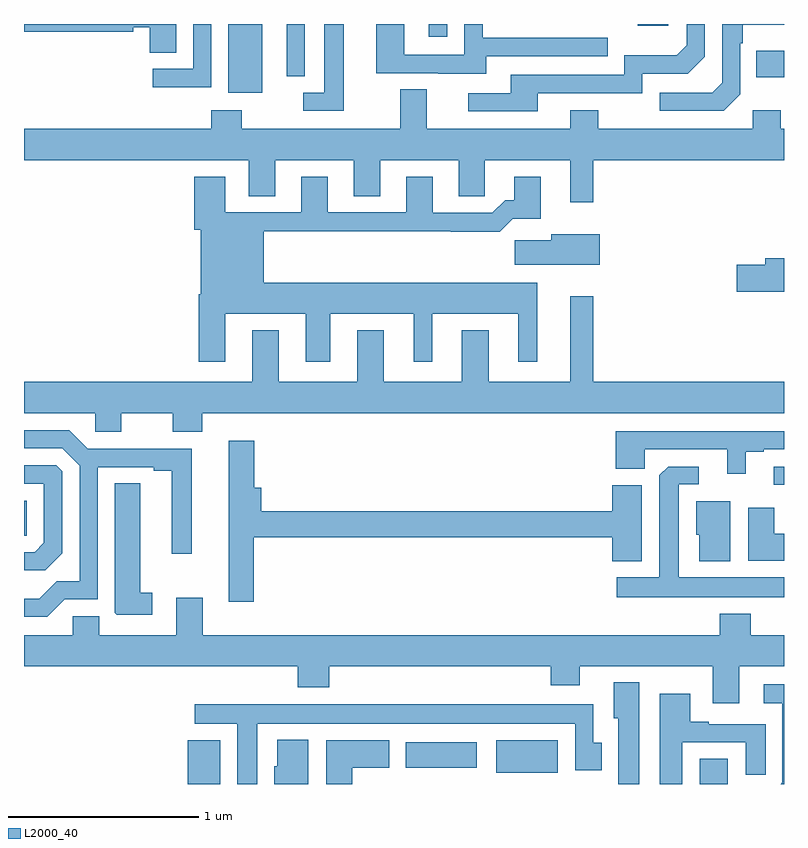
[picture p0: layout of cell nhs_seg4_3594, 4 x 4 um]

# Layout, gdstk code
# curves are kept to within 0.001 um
import gdstk
lib = gdstk.Library(unit=1e-6, precision=1e-09)
def R(c, l, rs):  # rectangles x0, y0, x1, y1
    for r in rs: c.add(gdstk.rectangle(r[:2], r[2:], *l))
def P(c, l, *ps):  # polygons
    for p in ps: c.add(gdstk.Polygon(p, *l))
L2000_40 = (2000, 40)

nhs_seg4_3594 = lib.new_cell('nhs_seg4_3594')
R(nhs_seg4_3594, L2000_40, [(301.862,762.9,302.032,763.129), (304.556,762.9,304.705,763.034), (303.485,762.959,303.808,763.129), (303.008,762.986,303.382,763.12), (301,764.206,301.014,764.391), (304.947,764.475,305,764.571), (302.075,766.538,302.254,766.899), (304.855,766.619,305,766.759), (303.131,766.833,303.228,766.9), (304.229,766.892,304.39,766.9)])
P(nhs_seg4_3594, L2000_40, [(301.986,766.9),(301.89,766.9),(301.89,766.665),(301.677,766.665),(301.677,766.567),(301.986,766.567)],
  [(303.433,766.731),(304.073,766.731),(304.073,766.827),(303.414,766.827),(303.414,766.9),(303.318,766.9),(303.318,766.737),(303,766.737),(303,766.9),(302.855,766.9),(302.855,766.641),(303.179,766.641),(303.179,766.637),(303.433,766.637)],
  [(302.478,766.9),(302.384,766.9),(302.384,766.778),(302.382,766.778),(302.382,766.624),(302.478,766.624)],
  [(304.77,766.53),(304.77,766.799),(304.783,766.799),(304.783,766.895),(305,766.895),(305,766.9),(304.674,766.9),(304.674,766.59),(304.623,766.539),(304.347,766.539),(304.347,766.443),(304.683,766.443)],
  [(301.801,766.9),(301,766.9),(301,766.859),(301.574,766.859),(301.574,766.883),(301.663,766.883),(301.663,766.75),(301.801,766.75)],
  [(303.703,766.536),(304.254,766.536),(304.254,766.638),(304.494,766.638),(304.584,766.728),(304.584,766.9),(304.488,766.9),(304.488,766.788),(304.435,766.735),(304.158,766.735),(304.158,766.632),(303.563,766.632),(303.563,766.536),(303.339,766.536),(303.339,766.44),(303.703,766.44)],
  [(302.683,766.9),(302.579,766.9),(302.579,766.539),(302.469,766.539),(302.469,766.443),(302.683,766.443)],
  [(303.997,766.184),(305,766.184),(305,766.348),(304.983,766.348),(304.983,766.447),(304.836,766.447),(304.836,766.348),(304.023,766.348),(304.023,766.447),(303.875,766.447),(303.875,766.348),(303.121,766.348),(303.121,766.556),(302.981,766.556),(302.981,766.348),(302.145,766.348),(302.145,766.447),(301.985,766.447),(301.985,766.348),(301,766.348),(301,766.184),(302.183,766.184),(302.183,765.994),(302.323,765.994),(302.323,766.184),(302.735,766.184),(302.735,765.994),(302.875,765.994),(302.875,766.184),(303.287,766.184),(303.287,765.994),(303.426,765.994),(303.426,766.184),(303.875,766.184),(303.875,765.963),(303.997,765.963)],
  [(302.059,765.374),(302.483,765.374),(302.483,765.123),(302.611,765.123),(302.611,765.374),(303.05,765.374),(303.05,765.123),(303.148,765.123),(303.148,765.374),(303.602,765.374),(303.602,765.123),(303.7,765.123),(303.7,765.538),(302.263,765.538),(302.263,765.808),(303.247,765.808),(303.247,765.806),(303.503,765.806),(303.572,765.875),(303.721,765.875),(303.721,766.096),(303.581,766.096),(303.581,765.973),(303.532,765.973),(303.465,765.906),(303.151,765.906),(303.151,766.096),(303.011,766.096),(303.011,765.909),(302.599,765.909),(302.599,766.096),(302.459,766.096),(302.459,765.909),(302.059,765.909),(302.059,766.096),(301.895,766.096),(301.895,765.816),(301.931,765.816),(301.931,765.478),(301.919,765.478),(301.919,765.123),(302.059,765.123)],
  [(304.03,765.793),(303.776,765.793),(303.776,765.761),(303.582,765.761),(303.582,765.632),(304.03,765.632)],
  [(305,765.668),(304.901,765.668),(304.901,765.632),(304.752,765.632),(304.752,765.49),(305,765.49)],
  [(301.937,764.852),(305,764.852),(305,765.016),(303.997,765.016),(303.997,765.466),(303.875,765.466),(303.875,765.016),(303.445,765.016),(303.445,765.289),(303.305,765.289),(303.305,765.016),(302.893,765.016),(302.893,765.289),(302.753,765.289),(302.753,765.016),(302.341,765.016),(302.341,765.289),(302.201,765.289),(302.201,765.016),(301,765.016),(301,764.852),(301.374,764.852),(301.374,764.754),(301.513,764.754),(301.513,764.852),(301.784,764.852),(301.784,764.753),(301.937,764.753)],
  [(301.215,763.872),(301.389,763.872),(301.389,764.568),(301.682,764.568),(301.682,764.548),(301.778,764.548),(301.778,764.112),(301.882,764.112),(301.882,764.664),(301.336,764.664),(301.237,764.763),(301,764.763),(301,764.667),(301.2,764.667),(301.293,764.574),(301.293,763.967),(301.172,763.967),(301.081,763.876),(301,763.876),(301,763.779),(301.122,763.779)],
  [(304.798,764.649),(304.894,764.649),(304.894,764.661),(305,764.661),(305,764.757),(304.115,764.757),(304.115,764.558),(304.266,764.558),(304.266,764.661),(304.7,764.661),(304.7,764.532),(304.798,764.532)],
  [(302.21,764.2),(304.097,764.2),(304.097,764.072),(304.252,764.072),(304.252,764.473),(304.097,764.473),(304.097,764.336),(302.249,764.336),(302.249,764.458),(302.213,764.458),(302.213,764.707),(302.078,764.707),(302.078,763.86),(302.21,763.86)],
  [(301.2,764.115),(301.2,764.547),(301.17,764.577),(301,764.577),(301,764.481),(301.104,764.481),(301.104,764.169),(301.056,764.121),(301,764.121),(301,764.026),(301.111,764.026)],
  [(305,763.987),(304.447,763.987),(304.447,764.478),(304.552,764.478),(304.552,764.571),(304.39,764.571),(304.344,764.525),(304.343,763.987),(304.119,763.987),(304.119,763.883),(305,763.883)],
  [(301.675,763.907),(301.612,763.907),(301.612,764.483),(301.478,764.483),(301.478,763.801),(301.488,763.791),(301.675,763.791)],
  [(304.717,764.389),(304.538,764.389),(304.538,764.211),(304.553,764.211),(304.553,764.072),(304.717,764.072)],
  [(305,764.218),(304.948,764.218),(304.948,764.353),(304.811,764.353),(304.811,764.075),(305,764.075)],
  [(304.765,763.52),(305,763.52),(305,763.684),(304.826,763.684),(304.826,763.795),(304.661,763.795),(304.661,763.684),(301.942,763.684),(301.942,763.879),(301.802,763.879),(301.802,763.684),(301.396,763.684),(301.396,763.782),(301.257,763.782),(301.257,763.684),(301,763.684),(301,763.52),(302.441,763.52),(302.441,763.409),(302.606,763.409),(302.606,763.52),(303.773,763.52),(303.773,763.421),(303.925,763.421),(303.925,763.52),(304.625,763.52),(304.625,763.326),(304.765,763.326)],
  [(304.237,763.435),(304.103,763.435),(304.103,763.245),(304.127,763.245),(304.127,762.9),(304.237,762.9)],
  [(305,763.426),(304.893,763.426),(304.893,763.325),(304.991,763.325),(304.991,762.908),(304.983,762.9),(305,762.9)],
  [(304.465,763.119),(304.799,763.119),(304.799,762.948),(304.903,762.948),(304.903,763.215),(304.603,763.215),(304.603,763.228),(304.507,763.228),(304.507,763.375),(304.346,763.375),(304.346,762.9),(304.465,762.9)],
  [(302.227,763.217),(303.9,763.217),(303.9,762.972),(304.042,762.972),(304.042,763.116),(303.997,763.116),(303.997,763.321),(301.899,763.321),(301.899,763.217),(302.123,763.217),(302.123,762.9),(302.227,762.9)],
  [(302.497,763.132),(302.333,763.132),(302.333,762.993),(302.318,762.993),(302.318,762.9),(302.497,762.9)],
  [(302.728,762.986),(302.923,762.986),(302.923,763.129),(302.591,763.129),(302.591,762.9),(302.728,762.9)])

lib.write_gds('nhs_seg4_3594.gds')
